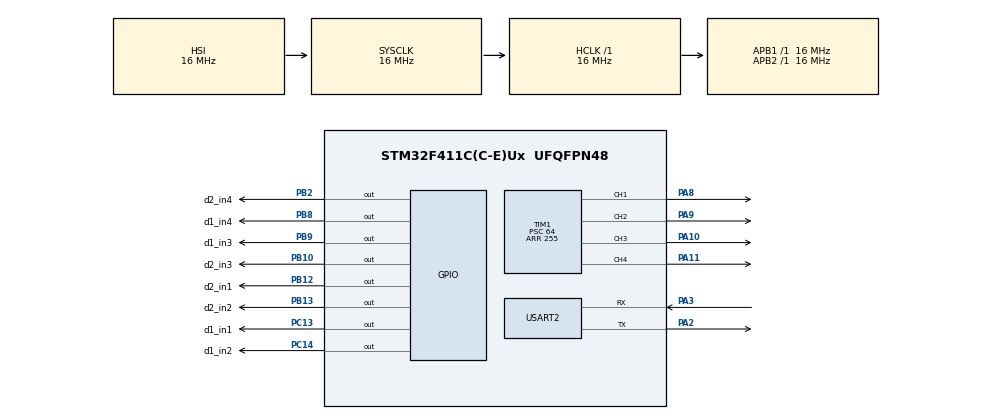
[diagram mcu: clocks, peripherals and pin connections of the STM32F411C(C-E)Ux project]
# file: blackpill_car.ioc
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Dma.Request0=USART2_RX
Dma.USART2_RX.0.Direction=DMA_PERIPH_TO_MEMORY
Dma.USART2_RX.0.FIFOMode=DMA_FIFOMODE_DISABLE
Dma.USART2_RX.0.Instance=DMA1_Stream5
Dma.USART2_RX.0.MemDataAlignment=DMA_MDATAALIGN_BYTE
Dma.USART2_RX.0.MemInc=DMA_MINC_ENABLE
Dma.USART2_RX.0.Mode=DMA_NORMAL
Dma.USART2_RX.0.PeriphDataAlignment=DMA_PDATAALIGN_BYTE
Dma.USART2_RX.0.PeriphInc=DMA_PINC_DISABLE
Dma.USART2_RX.0.Priority=DMA_PRIORITY_LOW
Mcu.Family=STM32F4
Mcu.Name=STM32F411C(C-E)Ux
Mcu.Package=UFQFPN48
NVIC.DMA1_Stream5_IRQn=true\:0\:0\:false\:false\:true\:false\:true\:true
NVIC.PriorityGroup=NVIC_PRIORITYGROUP_4
NVIC.USART2_IRQn=true\:0\:0\:false\:false\:true\:true\:true\:true
PA10.Signal=S_TIM1_CH3
PA11.Signal=S_TIM1_CH4
PA2.Mode=Asynchronous
PA2.Signal=USART2_TX
PA3.Mode=Asynchronous
PA3.Signal=USART2_RX
PA8.Signal=S_TIM1_CH1
PA9.Signal=S_TIM1_CH2
PB10.GPIO_Label=d2_in3
PB10.Signal=GPIO_Output
PB12.GPIO_Label=d2_in1
PB12.Signal=GPIO_Output
PB13.GPIO_Label=d2_in2
PB13.Signal=GPIO_Output
PB2.GPIO_Label=d2_in4
PB2.Signal=GPIO_Output
PB8.GPIO_Label=d1_in4
PB8.Signal=GPIO_Output
PB9.GPIO_Label=d1_in3
PB9.Signal=GPIO_Output
PC13-ANTI_TAMP.GPIO_Label=d1_in1
PC13-ANTI_TAMP.Signal=GPIO_Output
PC14-OSC32_IN.GPIO_Label=d1_in2
PC14-OSC32_IN.Signal=GPIO_Output
ProjectManager.HeapSize=0x200
ProjectManager.StackSize=0x400
ProjectManager.TargetToolchain=STM32CubeIDE
RCC.AHBFreq_Value=16000000
RCC.APB1Freq_Value=16000000
RCC.APB2Freq_Value=16000000
RCC.CortexFreq_Value=16000000
RCC.HSE_VALUE=25000000
RCC.HSI_VALUE=16000000
RCC.LSE_VALUE=32768
RCC.SYSCLKFreq_VALUE=16000000
RCC.VCOOutputFreq_Value=192000000
SH.S_TIM1_CH1.0=TIM1_CH1,PWM Generation1 CH1
SH.S_TIM1_CH2.0=TIM1_CH2,PWM Generation2 CH2
SH.S_TIM1_CH3.0=TIM1_CH3,PWM Generation3 CH3
SH.S_TIM1_CH4.0=TIM1_CH4,PWM Generation4 CH4
TIM1.Channel-PWM\ Generation1\ CH1=TIM_CHANNEL_1
TIM1.Channel-PWM\ Generation2\ CH2=TIM_CHANNEL_2
TIM1.Channel-PWM\ Generation3\ CH3=TIM_CHANNEL_3
TIM1.Channel-PWM\ Generation4\ CH4=TIM_CHANNEL_4
TIM1.Period=255
TIM1.Prescaler=64
USART2.VirtualMode=VM_ASYNC
VP_TIM1_VS_ClockSourceINT.Mode=Internal
board=custom

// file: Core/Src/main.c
/* USER CODE BEGIN Header */
/**
  ******************************************************************************
  * @file           : main.c
  * @brief          : Main program body
  ******************************************************************************
  * @attention
  *
  * Copyright (c) 2023 STMicroelectronics.
  * All rights reserved.
  *
  * This software is licensed under terms that can be found in the LICENSE file
  * in the root directory of this software component.
  * If no LICENSE file comes with this software, it is provided AS-IS.
  *
  ******************************************************************************
  */
/* USER CODE END Header */
#include "main.h"

TIM_HandleTypeDef htim1;

UART_HandleTypeDef huart2;
DMA_HandleTypeDef hdma_usart2_rx;

void SystemClock_Config(void);
static void MX_GPIO_Init(void);
static void MX_DMA_Init(void);
static void MX_TIM1_Init(void);
static void MX_USART2_UART_Init(void);

/* USER CODE BEGIN 0 */
uint8_t data[8] = {0};
uint32_t  last_control_time = 0;

//void HAL_UART_RxCpltCallback(UART_HandleTypeDef *huart)
//{
//  TIM1->CCR1 = data[0];
//  //TIM1->CCR2 = data[1];
//  //TIM1->CCR3 = data[2];
//  //TIM1->CCR4 = data[3];
//  HAL_UART_Receive_IT(&huart2, data, sizeof(data));
//}

void HAL_UART_RxCpltCallback(UART_HandleTypeDef *huart)
{
	TIM1->CCR1 = data[0];
	TIM1->CCR2 = data[1];
	TIM1->CCR3 = data[2];
	TIM1->CCR4 = data[3];

	// engine 1
	if (data[4] == 2)
	{
	    HAL_GPIO_WritePin(d1_in1_GPIO_Port, d1_in1_Pin, GPIO_PIN_SET);
	    HAL_GPIO_WritePin(d1_in2_GPIO_Port, d1_in2_Pin, GPIO_PIN_RESET);
	}
	else if (data[4] == 1)
	{
	    HAL_GPIO_WritePin(d1_in1_GPIO_Port, d1_in1_Pin, GPIO_PIN_RESET);
	    HAL_GPIO_WritePin(d1_in2_GPIO_Port, d1_in2_Pin, GPIO_PIN_SET);
	}
	else
	{
	    HAL_GPIO_WritePin(d1_in1_GPIO_Port, d1_in1_Pin, GPIO_PIN_RESET);
	    HAL_GPIO_WritePin(d1_in2_GPIO_Port, d1_in2_Pin, GPIO_PIN_RESET);
	}

	// engine 2
	if (data[5] == 2)
	{
	    HAL_GPIO_WritePin(d1_in3_GPIO_Port, d1_in3_Pin, GPIO_PIN_SET);
	    HAL_GPIO_WritePin(d1_in4_GPIO_Port, d1_in4_Pin, GPIO_PIN_RESET);
	}
	else if (data[5] == 1)
	{
	    HAL_GPIO_WritePin(d1_in3_GPIO_Port, d1_in3_Pin, GPIO_PIN_RESET);
	    HAL_GPIO_WritePin(d1_in4_GPIO_Port, d1_in4_Pin, GPIO_PIN_SET);
	}
	else
	{
	    HAL_GPIO_WritePin(d1_in3_GPIO_Port, d1_in3_Pin, GPIO_PIN_RESET);
	    HAL_GPIO_WritePin(d1_in4_GPIO_Port, d1_in4_Pin, GPIO_PIN_RESET);
	}

	// engine 3
	if (data[6] == 2)
	{
	    HAL_GPIO_WritePin(d2_in1_GPIO_Port, d2_in1_Pin, GPIO_PIN_SET);
	    HAL_GPIO_WritePin(d2_in2_GPIO_Port, d2_in2_Pin, GPIO_PIN_RESET);
	}
	else if (data[6] == 1)
	{
	    HAL_GPIO_WritePin(d2_in1_GPIO_Port, d2_in1_Pin, GPIO_PIN_RESET);
	    HAL_GPIO_WritePin(d2_in2_GPIO_Port, d2_in2_Pin, GPIO_PIN_SET);
	}
	else
	{
	    HAL_GPIO_WritePin(d2_in1_GPIO_Port, d2_in1_Pin, GPIO_PIN_RESET);
	    HAL_GPIO_WritePin(d2_in2_GPIO_Port, d2_in2_Pin, GPIO_PIN_RESET);
	}

	// engine 4
	if (data[7] == 2)
	{
	    HAL_GPIO_WritePin(d2_in3_GPIO_Port, d2_in3_Pin, GPIO_PIN_SET);
	    HAL_GPIO_WritePin(d2_in4_GPIO_Port, d2_in4_Pin, GPIO_PIN_RESET);
	}
	else if (data[7] == 1)
	{
	    HAL_GPIO_WritePin(d2_in3_GPIO_Port, d2_in3_Pin, GPIO_PIN_RESET);
	    HAL_GPIO_WritePin(d2_in4_GPIO_Port, d2_in4_Pin, GPIO_PIN_SET);
	}
	else
	{
	    HAL_GPIO_WritePin(d2_in3_GPIO_Port, d2_in3_Pin, GPIO_PIN_RESET);
	    HAL_GPIO_WritePin(d2_in4_GPIO_Port, d2_in4_Pin, GPIO_PIN_RESET);
	}

	last_control_time = HAL_GetTick();
	HAL_UART_Receive_DMA(&huart2, data, sizeof(data));
}

/* USER CODE END 0 */

int main(void)
{

  /* MCU Configuration--------------------------------------------------------*/

  /* Reset of all peripherals, Initializes the Flash interface and the Systick. */
  HAL_Init();

  /* Configure the system clock */
  SystemClock_Config();

  /* Initialize all configured peripherals */
  MX_GPIO_Init();
  MX_DMA_Init();
  MX_TIM1_Init();
  MX_USART2_UART_Init();
  /* USER CODE BEGIN 2 */
  HAL_TIM_PWM_Start(&htim1, TIM_CHANNEL_1);
  HAL_TIM_PWM_Start(&htim1, TIM_CHANNEL_2);
  HAL_TIM_PWM_Start(&htim1, TIM_CHANNEL_3);
  HAL_TIM_PWM_Start(&htim1, TIM_CHANNEL_4);
  TIM1->CCR1 = 0;
  TIM1->CCR2 = 0;
  TIM1->CCR3 = 0;
  TIM1->CCR4 = 0;
  HAL_GPIO_WritePin(d1_in1_GPIO_Port, d1_in1_Pin, GPIO_PIN_RESET);
  HAL_GPIO_WritePin(d1_in2_GPIO_Port, d1_in2_Pin, GPIO_PIN_RESET);
  HAL_GPIO_WritePin(d1_in3_GPIO_Port, d1_in3_Pin, GPIO_PIN_RESET);
  HAL_GPIO_WritePin(d1_in4_GPIO_Port, d1_in4_Pin, GPIO_PIN_RESET);

  HAL_GPIO_WritePin(d2_in1_GPIO_Port, d2_in1_Pin, GPIO_PIN_RESET);
  HAL_GPIO_WritePin(d2_in2_GPIO_Port, d2_in2_Pin, GPIO_PIN_RESET);
  HAL_GPIO_WritePin(d2_in3_GPIO_Port, d2_in3_Pin, GPIO_PIN_RESET);
  HAL_GPIO_WritePin(d2_in4_GPIO_Port, d2_in4_Pin, GPIO_PIN_RESET);

  //HAL_UART_Receive_IT (&huart2, data, sizeof(data));
  HAL_UART_Receive_DMA(&huart2, data, sizeof(data));

  /* USER CODE END 2 */

  /* Infinite loop */
  while (1)
  {

  }
}

void SystemClock_Config(void)
{
  RCC_OscInitTypeDef RCC_OscInitStruct = {0};
  RCC_ClkInitTypeDef RCC_ClkInitStruct = {0};

  /** Configure the main internal regulator output voltage
  */
  __HAL_RCC_PWR_CLK_ENABLE();
  __HAL_PWR_VOLTAGESCALING_CONFIG(PWR_REGULATOR_VOLTAGE_SCALE1);

  /** Initializes the RCC Oscillators according to the specified parameters
  * in the RCC_OscInitTypeDef structure.
  */
  RCC_OscInitStruct.OscillatorType = RCC_OSCILLATORTYPE_HSI;
  RCC_OscInitStruct.HSIState = RCC_HSI_ON;
  RCC_OscInitStruct.HSICalibrationValue = RCC_HSICALIBRATION_DEFAULT;
  RCC_OscInitStruct.PLL.PLLState = RCC_PLL_NONE;
  if (HAL_RCC_OscConfig(&RCC_OscInitStruct) != HAL_OK)
  {
    Error_Handler();
  }

  /** Initializes the CPU, AHB and APB buses clocks
  */
  RCC_ClkInitStruct.ClockType = RCC_CLOCKTYPE_HCLK|RCC_CLOCKTYPE_SYSCLK
                              |RCC_CLOCKTYPE_PCLK1|RCC_CLOCKTYPE_PCLK2;
  RCC_ClkInitStruct.SYSCLKSource = RCC_SYSCLKSOURCE_HSI;
  RCC_ClkInitStruct.AHBCLKDivider = RCC_SYSCLK_DIV1;
  RCC_ClkInitStruct.APB1CLKDivider = RCC_HCLK_DIV1;
  RCC_ClkInitStruct.APB2CLKDivider = RCC_HCLK_DIV1;

  if (HAL_RCC_ClockConfig(&RCC_ClkInitStruct, FLASH_LATENCY_0) != HAL_OK)
  {
    Error_Handler();
  }
}

static void MX_TIM1_Init(void)
{

  TIM_ClockConfigTypeDef sClockSourceConfig = {0};
  TIM_MasterConfigTypeDef sMasterConfig = {0};
  TIM_OC_InitTypeDef sConfigOC = {0};
  TIM_BreakDeadTimeConfigTypeDef sBreakDeadTimeConfig = {0};

  htim1.Instance = TIM1;
  htim1.Init.Prescaler = 64;
  htim1.Init.CounterMode = TIM_COUNTERMODE_UP;
  htim1.Init.Period = 255;
  htim1.Init.ClockDivision = TIM_CLOCKDIVISION_DIV1;
  htim1.Init.RepetitionCounter = 0;
  htim1.Init.AutoReloadPreload = TIM_AUTORELOAD_PRELOAD_DISABLE;
  if (HAL_TIM_Base_Init(&htim1) != HAL_OK)
  {
    Error_Handler();
  }
  sClockSourceConfig.ClockSource = TIM_CLOCKSOURCE_INTERNAL;
  if (HAL_TIM_ConfigClockSource(&htim1, &sClockSourceConfig) != HAL_OK)
  {
    Error_Handler();
  }
  if (HAL_TIM_PWM_Init(&htim1) != HAL_OK)
  {
    Error_Handler();
  }
  sMasterConfig.MasterOutputTrigger = TIM_TRGO_RESET;
  sMasterConfig.MasterSlaveMode = TIM_MASTERSLAVEMODE_DISABLE;
  if (HAL_TIMEx_MasterConfigSynchronization(&htim1, &sMasterConfig) != HAL_OK)
  {
    Error_Handler();
  }
  sConfigOC.OCMode = TIM_OCMODE_PWM1;
  sConfigOC.Pulse = 0;
  sConfigOC.OCPolarity = TIM_OCPOLARITY_HIGH;
  sConfigOC.OCNPolarity = TIM_OCNPOLARITY_HIGH;
  sConfigOC.OCFastMode = TIM_OCFAST_DISABLE;
  sConfigOC.OCIdleState = TIM_OCIDLESTATE_RESET;
  sConfigOC.OCNIdleState = TIM_OCNIDLESTATE_RESET;
  if (HAL_TIM_PWM_ConfigChannel(&htim1, &sConfigOC, TIM_CHANNEL_1) != HAL_OK)
  {
    Error_Handler();
  }
  if (HAL_TIM_PWM_ConfigChannel(&htim1, &sConfigOC, TIM_CHANNEL_2) != HAL_OK)
  {
    Error_Handler();
  }
  if (HAL_TIM_PWM_ConfigChannel(&htim1, &sConfigOC, TIM_CHANNEL_3) != HAL_OK)
  {
    Error_Handler();
  }
  if (HAL_TIM_PWM_ConfigChannel(&htim1, &sConfigOC, TIM_CHANNEL_4) != HAL_OK)
  {
    Error_Handler();
  }
  sBreakDeadTimeConfig.OffStateRunMode = TIM_OSSR_DISABLE;
  sBreakDeadTimeConfig.OffStateIDLEMode = TIM_OSSI_DISABLE;
  sBreakDeadTimeConfig.LockLevel = TIM_LOCKLEVEL_OFF;
  sBreakDeadTimeConfig.DeadTime = 0;
  sBreakDeadTimeConfig.BreakState = TIM_BREAK_DISABLE;
  sBreakDeadTimeConfig.BreakPolarity = TIM_BREAKPOLARITY_HIGH;
  sBreakDeadTimeConfig.AutomaticOutput = TIM_AUTOMATICOUTPUT_DISABLE;
  if (HAL_TIMEx_ConfigBreakDeadTime(&htim1, &sBreakDeadTimeConfig) != HAL_OK)
  {
    Error_Handler();
  }
  HAL_TIM_MspPostInit(&htim1);

}

static void MX_USART2_UART_Init(void)
{

  huart2.Instance = USART2;
  huart2.Init.BaudRate = 115200;
  huart2.Init.WordLength = UART_WORDLENGTH_8B;
  huart2.Init.StopBits = UART_STOPBITS_1;
  huart2.Init.Parity = UART_PARITY_NONE;
  huart2.Init.Mode = UART_MODE_TX_RX;
  huart2.Init.HwFlowCtl = UART_HWCONTROL_NONE;
  huart2.Init.OverSampling = UART_OVERSAMPLING_16;
  if (HAL_UART_Init(&huart2) != HAL_OK)
  {
    Error_Handler();
  }

}

static void MX_DMA_Init(void)
{

  /* DMA controller clock enable */
  __HAL_RCC_DMA1_CLK_ENABLE();

  /* DMA interrupt init */
  /* DMA1_Stream5_IRQn interrupt configuration */
  HAL_NVIC_SetPriority(DMA1_Stream5_IRQn, 0, 0);
  HAL_NVIC_EnableIRQ(DMA1_Stream5_IRQn);

}

static void MX_GPIO_Init(void)
{
  GPIO_InitTypeDef GPIO_InitStruct = {0};

  /* GPIO Ports Clock Enable */
  __HAL_RCC_GPIOC_CLK_ENABLE();
  __HAL_RCC_GPIOA_CLK_ENABLE();
  __HAL_RCC_GPIOB_CLK_ENABLE();

  /*Configure GPIO pin Output Level */
  HAL_GPIO_WritePin(GPIOC, d1_in1_Pin|d1_in2_Pin, GPIO_PIN_RESET);

  /*Configure GPIO pin Output Level */
  HAL_GPIO_WritePin(GPIOB, d2_in4_Pin|d2_in3_Pin|d2_in1_Pin|d2_in2_Pin
                          |d1_in4_Pin|d1_in3_Pin, GPIO_PIN_RESET);

  /*Configure GPIO pins : d1_in1_Pin d1_in2_Pin */
  GPIO_InitStruct.Pin = d1_in1_Pin|d1_in2_Pin;
  GPIO_InitStruct.Mode = GPIO_MODE_OUTPUT_PP;
  GPIO_InitStruct.Pull = GPIO_NOPULL;
  GPIO_InitStruct.Speed = GPIO_SPEED_FREQ_LOW;
  HAL_GPIO_Init(GPIOC, &GPIO_InitStruct);

  /*Configure GPIO pins : d2_in4_Pin d2_in3_Pin d2_in1_Pin d2_in2_Pin
                           d1_in4_Pin d1_in3_Pin */
  GPIO_InitStruct.Pin = d2_in4_Pin|d2_in3_Pin|d2_in1_Pin|d2_in2_Pin
                          |d1_in4_Pin|d1_in3_Pin;
  GPIO_InitStruct.Mode = GPIO_MODE_OUTPUT_PP;
  GPIO_InitStruct.Pull = GPIO_NOPULL;
  GPIO_InitStruct.Speed = GPIO_SPEED_FREQ_LOW;
  HAL_GPIO_Init(GPIOB, &GPIO_InitStruct);

}

void Error_Handler(void)
{
  __disable_irq();
  while (1)
  {
  }
}
